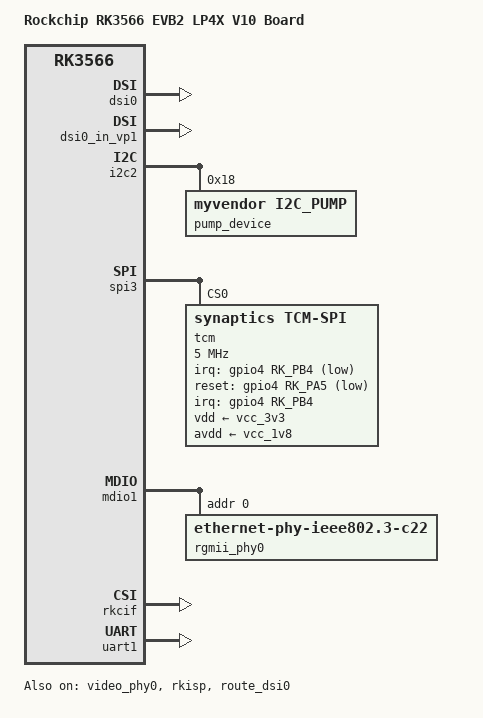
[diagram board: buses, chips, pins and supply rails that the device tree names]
// SPDX-License-Identifier: (GPL-2.0+ OR MIT)
/*
 * Copyright (c) 2020 Rockchip Electronics Co., Ltd.
 *
 */

/dts-v1/;

#include <dt-bindings/gpio/gpio.h>
#include <dt-bindings/display/media-bus-format.h>
#include <dt-bindings/pinctrl/rockchip.h>
#include "rk3566.dtsi"
#include "rk3566-evb.dtsi"

/ {
	model = "Rockchip RK3566 EVB2 LP4X V10 Board";
	compatible = "rockchip,rk3566-evb2-lp4x-v10", "rockchip,rk3566";
/*
	vcc3v3_pcie: gpio-regulator {
		compatible = "regulator-fixed";
		regulator-name = "vcc3v3_pcie";
		regulator-min-microvolt = <3300000>;
		regulator-max-microvolt = <3300000>;
		enable-active-high;
		gpio = <&gpio0 RK_PC2 GPIO_ACTIVE_HIGH>;
		startup-delay-us = <5000>;
		vin-supply = <&dc_12v>;
	};*/
};



/*
 * video_phy0 needs to be enabled
 * when dsi0 is enabled
 */
&vp1 {
    rockchip,pixel-shift-enable;
};
&dsi0 {
	status = "okay";
};

&dsi0_in_vp0 {
	status = "disabled";
};

&dsi0_in_vp1 {
	status = "okay";
};

&dsi0_panel {
	power-supply = <&vcc3v3_lcd0_n>;
	reset-gpios = <&gpio0 RK_PC0 GPIO_ACTIVE_LOW>;
	pinctrl-names = "default";
	pinctrl-0 = <&lcd0_rst_gpio>;
//	rotation = <270>; // 设置屏幕旋转为90度
};

&i2c2 {
	status = "okay";
	pinctrl-0 = <&i2c2m1_xfer>;

	pump_device: device@50 {
        compatible = "myvendor,i2c_pump";
        status = "okay";
        reg = <0x18>;
    };
};

&spi3 {
    status = "okay";

    tcm@0 {
        compatible = "synaptics,tcm-spi";      // 与驱动 of_match 完全一致
        reg = <0>;                             // CS0
        spi-max-frequency = <5000000>;
        synaptics,spi-mode = <0>;              // 0: CPOL=0, CPHA=0；按芯片手册需要可改 1/2/3
        // 如需通用写法也可：spi-cpol; / spi-cpha;（与上保持一致即可）

        // 中断脚（示例：GPIO4_B1），触发类型“低电平”对应 qcom 的 TRIGGER_LOW
        interrupt-parent = <&gpio4>;
        interrupts = <RK_PB4 IRQ_TYPE_LEVEL_LOW>;
        synaptics,irq-gpio = <&gpio4 RK_PB4 GPIO_ACTIVE_LOW>;

        // 复位脚（示例：GPIO4_A5），低电平有效 
        synaptics,reset-gpio = <&gpio4 RK_PA5 GPIO_ACTIVE_LOW>;
        synaptics,reset-on-state = <0>;        // 与样例一致：0 表示拉低为“on”
        synaptics,reset-active-ms = <20>;
        synaptics,reset-delay-ms  = <200>;

        // 上电/时序 //
        synaptics,power-delay-ms = <200>;
        synaptics,byte-delay-us  = <0>;
        synaptics,block-delay-us = <0>;
        synaptics,ubl-max-freq   = <5000000>;
        synaptics,ubl-byte-delay-us = <20>;

        // 供电（把 &vcc_3v3 / &vcc_1v8 改成你板上的 regulator 节点） //
        vdd-supply  = <&vcc_3v3>;
        avdd-supply = <&vcc_1v8>;

        // pinctrl（可选，若你已在 pinctrl 定义好 active/suspend 状态） //
        // pinctrl-names = "pmx_ts_active", "pmx_ts_suspend";
        // pinctrl-0 = <&ts_active>;
        // pinctrl-1 = <&ts_suspend>;
    };
};/**/


&mdio1 {
	rgmii_phy0: phy@0 {
		compatible = "ethernet-phy-ieee802.3-c22";
		reg = <0x0>;
	};
};



/*
 * power-supply should switche to vcc3v3_lcd1_n
 * when mipi panel is connected to dsi1.

&gt1x {
	power-supply = <&vcc3v3_lcd0_n>;
};
 */
&video_phy0 {
	status = "okay";
};


&pinctrl {

	lcd0 {
		lcd0_rst_gpio: lcd0-rst-gpio {
			rockchip,pins = <0 RK_PC0 RK_FUNC_GPIO &pcfg_pull_none>;
		};
	};
};

&rkcif {
	status = "okay";
};

&rkcif_mmu {
	status = "okay";
};

&rkisp {
	status = "okay";
};
&csi2_dphy1 {
	status = "disabled";

	/*
	 * dphy1 only used for split mode,
	 * can be used  concurrently  with dphy2
	 * full mode and split mode are mutually exclusive
	 
	ports {
		#address-cells = <1>;
		#size-cells = <0>;

		port@1 {
			reg = <1>;
			#address-cells = <1>;
			#size-cells = <0>;

			dphy1_out: endpoint@1 {
				reg = <1>;
				remote-endpoint = <&isp0_in>;
			};
		};
	};*/
};
&rkisp_mmu {
	status = "disabled";
};

&rkisp_vir0 {
	status = "disabled";
/*
	port {
		#address-cells = <1>;
		#size-cells = <0>;

		isp0_in: endpoint@0 {
			reg = <0>;
			remote-endpoint = <&dphy1_out>;
		};
	};*/
};

&route_dsi0 {
	status = "okay";
	connect = <&vp1_out_dsi0>;
};
/*
&sdmmc1 {
	max-frequency = <150000000>;
	no-sd;
	no-mmc;
	bus-width = <4>;
	disable-wp;
	cap-sd-highspeed;
	cap-sdio-irq;
	keep-power-in-suspend;
	mmc-pwrseq = <&sdio_pwrseq>;
	non-removable;
	pinctrl-names = "default";
	pinctrl-0 = <&sdmmc1_bus4 &sdmmc1_cmd &sdmmc1_clk>;
	sd-uhs-sdr104;
	status = "okay";
};

&sdio_pwrseq {
	reset-gpios = <&gpio2 RK_PB1 GPIO_ACTIVE_LOW>;
};
*/
&uart1 {
	status = "okay";
	pinctrl-names = "default";
	pinctrl-0 = <&uart1m0_xfer &uart1m0_ctsn>;
};

&vcc3v3_lcd0_n {
	gpio = <&gpio0 RK_PC3 GPIO_ACTIVE_HIGH>;
	enable-active-high;
};


